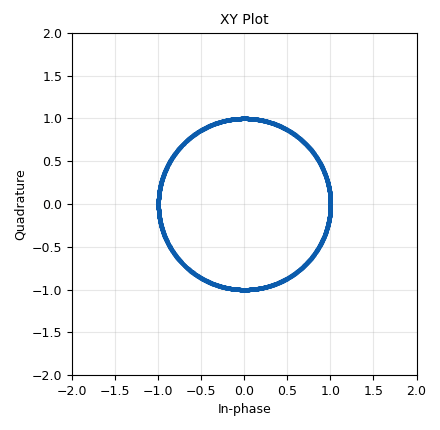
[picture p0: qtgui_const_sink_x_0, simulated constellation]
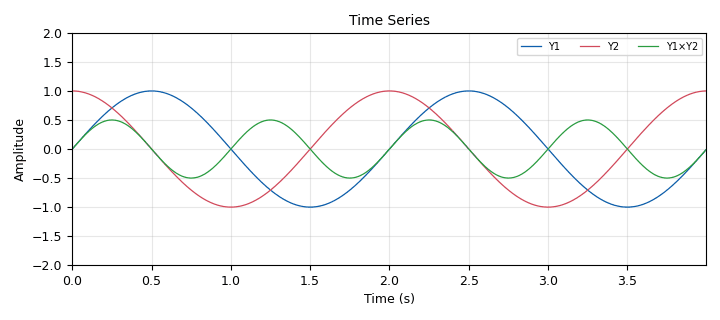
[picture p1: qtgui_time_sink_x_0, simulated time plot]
options:
  parameters:
    generate_options: qt_gui
    id: untitled
    output_language: python
    title: Phase Lab
  states: {}

blocks:
- name: a_y1
  id: variable_qtgui_dial_control
  parameters:
    gui_hint: 9,0,2,2
    label: Amplitude (Y1)
    maximum: '100'
    minimum: '0'
    relBackgroundColor: aqua
    scaleFactor: '0.01'
    showvalue: 'True'
    type: real
    value: '1'
  states: {}
- name: a_y2
  id: variable_qtgui_dial_control
  parameters:
    gui_hint: 9,11,2,2
    label: Amplitude (Y2)
    maximum: '100'
    minimum: '0'
    relBackgroundColor: purple
    scaleFactor: '0.01'
    showvalue: 'True'
    type: real
    value: '1'
  states: {}
- name: dc_y1
  id: variable_qtgui_dial_control
  parameters:
    gui_hint: 9,6,2,2
    label: Offset (Y1)
    maximum: '50'
    minimum: '-50'
    relBackgroundColor: aqua
    scaleFactor: '0.02'
    showvalue: 'True'
    type: real
    value: '0'
  states: {}
- name: dc_y2
  id: variable_qtgui_dial_control
  parameters:
    gui_hint: 9,17,2,2
    label: Offset (Y1)
    maximum: '50'
    minimum: '-50'
    relBackgroundColor: purple
    scaleFactor: '0.02'
    showvalue: 'True'
    type: real
    value: '0'
  states: {}
- name: f_y1
  id: variable_qtgui_dial_control
  parameters:
    gui_hint: 9,2,2,2
    label: Frequency (Y1)
    maximum: '40'
    minimum: '1'
    relBackgroundColor: aqua
    scaleFactor: '0.1'
    showvalue: 'True'
    type: real
    value: '0.5'
  states: {}
- name: f_y2
  id: variable_qtgui_dial_control
  parameters:
    gui_hint: 9,13,2,2
    label: Frequency (Y2)
    maximum: '40'
    minimum: '1'
    relBackgroundColor: purple
    scaleFactor: '0.1'
    showvalue: 'True'
    type: real
    value: '0.5'
  states: {}
- name: p_y1
  id: variable_qtgui_dial_control
  parameters:
    gui_hint: 9,4,2,2
    label: Phase (Y1)
    maximum: '72'
    minimum: '0'
    relBackgroundColor: aqua
    scaleFactor: '5'
    showvalue: 'True'
    type: real
    value: '0'
  states: {}
- name: p_y2
  id: variable_qtgui_dial_control
  parameters:
    gui_hint: 9,15,2,2
    label: Phase (Y2)
    maximum: '72'
    minimum: '0'
    relBackgroundColor: purple
    scaleFactor: '5'
    showvalue: 'True'
    type: real
    value: '90'
  states: {}
- name: samp_rate
  id: variable
  parameters:
    value: '1000'
  states: {}
- name: analog_sig_source_x_0_0
  id: analog_sig_source_x
  parameters:
    amp: '1'
    freq: '1'
    offset: '0'
    phase: '0'
    samp_rate: samp_rate
    type: complex
    waveform: analog.GR_SIN_WAVE
  states: {}
- name: blocks_add_const_vxx_1
  id: blocks_add_const_vxx
  parameters:
    const: dc_y1
    type: float
  states: {}
- name: blocks_add_const_vxx_1_0
  id: blocks_add_const_vxx
  parameters:
    const: dc_y2
    type: float
  states: {}
- name: blocks_complex_to_float_1
  id: blocks_complex_to_float
  parameters: {}
  states: {}
- name: blocks_complex_to_float_1_0
  id: blocks_complex_to_float
  parameters: {}
  states: {}
- name: blocks_float_to_complex_0
  id: blocks_float_to_complex
  parameters: {}
  states: {}
- name: blocks_freqshift_cc_0
  id: blocks_freqshift_cc
  parameters:
    freq: f_y1 - 1
    sample_rate: samp_rate
  states: {}
- name: blocks_freqshift_cc_0_0
  id: blocks_freqshift_cc
  parameters:
    freq: f_y2 - 1
    sample_rate: samp_rate
  states: {}
- name: blocks_multiply_const_vxx_0
  id: blocks_multiply_const_vxx
  parameters:
    const: a_y2
    type: float
  states: {}
- name: blocks_multiply_const_vxx_0_0
  id: blocks_multiply_const_vxx
  parameters:
    const: a_y1
    type: float
  states: {}
- name: blocks_multiply_xx_0
  id: blocks_multiply_xx
  parameters:
    type: float
  states: {}
- name: blocks_phase_shift_0
  id: blocks_phase_shift
  parameters:
    is_radians: 'False'
    shift: p_y1
  states: {}
- name: blocks_phase_shift_0_0
  id: blocks_phase_shift
  parameters:
    is_radians: 'False'
    shift: p_y2
  states: {}
- name: blocks_stream_to_vector_0
  id: blocks_stream_to_vector
  parameters:
    num_items: '1'
    type: complex
  states: {}
- name: import_0
  id: import
  parameters:
    imports: import math
  states: {}
- name: qtgui_const_sink_x_0
  id: qtgui_const_sink_x
  parameters:
    axislabels: 'False'
    grid: 'True'
    gui_hint: 0,12,8,7
    legend: 'False'
    name: XY Plot
    size: samp_rate*10
    type: complex
    update_time: '0.05'
  states: {}
- name: qtgui_time_sink_x_0
  id: qtgui_time_sink_x
  parameters:
    color1: cyan
    color2: magenta
    color3: black
    ctrlpanel: 'True'
    entags: 'False'
    grid: 'True'
    gui_hint: 0,0,8,12
    label1: Y1
    label2: Y2
    label3: Y1×Y2
    name: Time Series
    nconnections: '3'
    size: round(samp_rate*4)
    srate: samp_rate
    style3: '3'
    tr_mode: qtgui.TRIG_MODE_AUTO
    type: float
    width1: '3'
    width2: '3'
    width3: '3'
    ymax: '2'
    ymin: '-2'
  states: {}

connections:
- [analog_sig_source_x_0_0, '0', blocks_freqshift_cc_0, '0']
- [analog_sig_source_x_0_0, '0', blocks_freqshift_cc_0_0, '0']
- [blocks_add_const_vxx_1, '0', blocks_float_to_complex_0, '0']
- [blocks_add_const_vxx_1, '0', blocks_multiply_xx_0, '0']
- [blocks_add_const_vxx_1, '0', qtgui_time_sink_x_0, '0']
- [blocks_add_const_vxx_1_0, '0', blocks_float_to_complex_0, '1']
- [blocks_add_const_vxx_1_0, '0', blocks_multiply_xx_0, '1']
- [blocks_add_const_vxx_1_0, '0', qtgui_time_sink_x_0, '1']
- [blocks_complex_to_float_1, '0', blocks_multiply_const_vxx_0_0, '0']
- [blocks_complex_to_float_1_0, '0', blocks_multiply_const_vxx_0, '0']
- [blocks_float_to_complex_0, '0', blocks_stream_to_vector_0, '0']
- [blocks_freqshift_cc_0, '0', blocks_phase_shift_0, '0']
- [blocks_freqshift_cc_0_0, '0', blocks_phase_shift_0_0, '0']
- [blocks_multiply_const_vxx_0, '0', blocks_add_const_vxx_1_0, '0']
- [blocks_multiply_const_vxx_0_0, '0', blocks_add_const_vxx_1, '0']
- [blocks_multiply_xx_0, '0', qtgui_time_sink_x_0, '2']
- [blocks_phase_shift_0, '0', blocks_complex_to_float_1, '0']
- [blocks_phase_shift_0_0, '0', blocks_complex_to_float_1_0, '0']
- [blocks_stream_to_vector_0, '0', qtgui_const_sink_x_0, '0']

metadata:
  file_format: 1
  grc_version: 3.10.12.0
